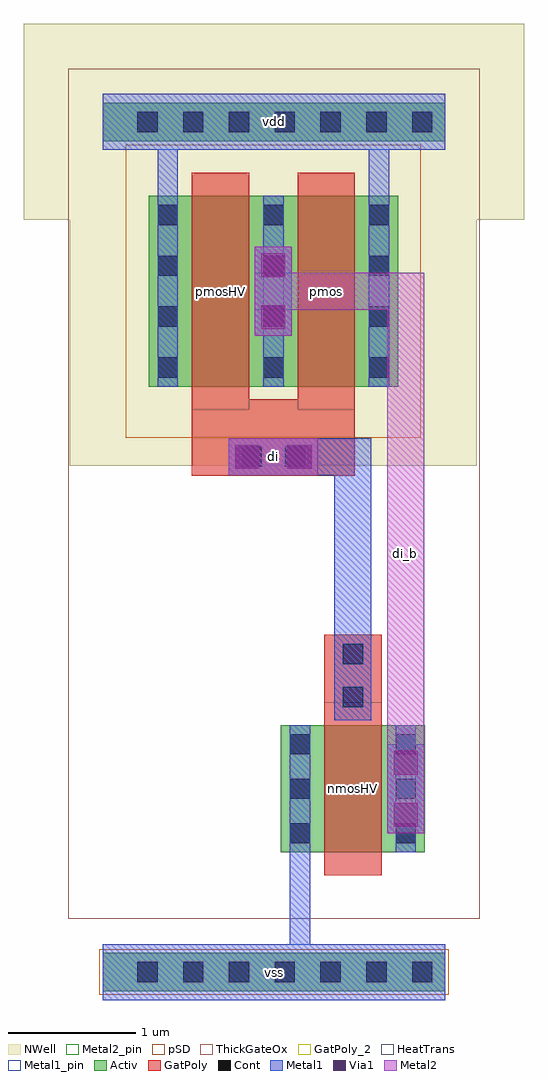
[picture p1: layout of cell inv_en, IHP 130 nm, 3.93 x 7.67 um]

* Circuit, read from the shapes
.subckt inv_en di di_b vdd vss
XM1 di_b di vss vss sg13_hv_nmos w=1u l=0.45u
XM2 di_b di vdd vdd sg13_hv_pmos w=1.5u l=0.45u m=2
.ends

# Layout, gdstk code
import gdstk
lib = gdstk.Library(unit=1e-6, precision=1e-09)
def R(c, l, rs):  # rectangles x0, y0, x1, y1
    for r in rs: c.add(gdstk.rectangle(r[:2], r[2:], *l))
def A(c, l, x, y, w, h, nx, ny, dx, dy):  # array of equal rectangles
    R(c, l, [(x+i*dx, y+j*dy, x+i*dx+w, y+j*dy+h) for i in range(nx) for j in range(ny)])
Activ = (1, 0)
GatPoly = (5, 0)
GatPoly_2 = (5, 2)
Cont = (6, 0)
Metal1 = (8, 0)
Metal1_pin = (8, 2)
Metal2 = (10, 0)
Metal2_pin = (10, 2)
pSD = (14, 0)
Via1 = (19, 0)
NWell = (31, 0)
ThickGateOx = (44, 0)
HeatTrans = (51, 0)

inv_en = lib.new_cell('inv_en')
A(inv_en, Activ, 0.36, 4.6, 0.3, 0.3, 3, 1, 0.83, 0)
R(inv_en, Activ, [(0,-0.15,2.69,0.15), (1.4,0.94,1.7,1.24), (1.4,0.94,2.53,1.94), (2.23,0.94,2.53,1.24), (0.36,4.6,2.32,6.1), (0,6.53,2.69,6.83)])
R(inv_en, GatPoly, [(1.74,0.76,2.19,2.12), (1.74,1.94,2.19,2.65), (0.7,3.9,1.98,4.5), (0.7,4.42,1.15,6.28), (1.53,4.42,1.98,6.28)])
R(inv_en, GatPoly_2, [(1.74,0.76,2.19,2.12), (0.7,4.42,1.15,6.28)])
A(inv_en, Cont, 0.27, -0.08, 0.16, 0.16, 7, 2, 0.36, 6.68)
A(inv_en, Cont, 1.47, 1.01, 0.16, 0.16, 1, 3, 0, 0.35)
A(inv_en, Cont, 2.3, 1.01, 0.16, 0.16, 1, 3, 0, 0.35)
A(inv_en, Cont, 0.43, 4.67, 0.16, 0.16, 3, 4, 0.83, 0.4)
R(inv_en, Cont, [(1.885,2.08,2.045,2.24), (1.885,2.42,2.045,2.58), (1.09,3.97,1.25,4.13), (1.43,3.97,1.59,4.13)])
A(inv_en, Metal1, 0.43, 4.6, 0.16, 1.5, 3, 1, 0.83, 0)
R(inv_en, Metal1, [(0,-0.22,2.69,0.22), (0,-0.22,2.69,0.22), (1.47,-0.22,1.63,0.94), (1.47,0.94,1.63,1.94), (2.3,0.94,2.46,1.94), (2.235,1.09,2.525,1.79), (1.82,1.98,2.11,2.68), (1.82,1.98,2.11,4.195), (0.99,3.905,1.69,4.195), (0.99,3.905,1.69,4.195), (0.99,3.905,2.11,4.195), (1.195,5,1.485,5.7), (0.43,6.1,0.59,6.9), (2.09,6.1,2.25,6.9), (0,6.46,2.69,6.9), (0,6.46,2.69,6.9)])
R(inv_en, Metal1_pin, [(0,-0.22,2.69,0.22), (1.47,0.94,1.63,1.94), (2.3,0.94,2.46,1.94), (0.43,4.6,0.59,6.1), (1.26,4.6,1.42,6.1), (0,6.46,2.69,6.9)])
R(inv_en, Metal2, [(2.235,1.09,2.525,1.79), (2.235,1.09,2.525,5.495), (2.235,1.09,2.525,5.495), (0.99,3.905,1.69,4.195), (0.99,3.905,1.69,4.195), (1.195,5,1.485,5.7), (1.195,5.205,2.525,5.495)])
R(inv_en, Metal2_pin, [(2.235,1.09,2.525,5.495), (0.99,3.905,1.69,4.195), (1.195,5.205,2.525,5.495)])
R(inv_en, pSD, [(-0.03,-0.18,2.72,0.18), (0.18,4.2,2.5,6.5)])
R(inv_en, Via1, [(2.285,1.14,2.475,1.33), (2.285,1.55,2.475,1.74), (1.04,3.955,1.23,4.145), (1.45,3.955,1.64,4.145), (1.245,5.05,1.435,5.24), (1.245,5.46,1.435,5.65)])
R(inv_en, NWell, [(-0.26,3.98,2.94,6.68), (-0.26,3.98,2.94,6.72), (-0.62,5.91,3.31,7.45)])
R(inv_en, ThickGateOx, [(-0.27,0.42,2.96,6.68), (1.13,0.42,2.8,2.46), (-0.26,3.98,2.94,6.72), (-0.27,6.26,2.96,7.1)])
R(inv_en, HeatTrans, [(1.74,0.76,2.19,2.12), (0.7,4.42,1.15,6.28), (1.53,4.42,1.98,6.28)])
inv_en.add(gdstk.Label('nmosHV', (1.965,1.44), layer=63, texttype=0))
inv_en.add(gdstk.Label('pmosHV', (0.925,5.35), layer=63, texttype=0))
inv_en.add(gdstk.Label('nmosHV', (1.965,1.44), layer=51, texttype=0))
inv_en.add(gdstk.Label('pmos', (0.925,5.35), layer=51, texttype=0))
inv_en.add(gdstk.Label('pmos', (1.755,5.35), layer=51, texttype=0))
inv_en.add(gdstk.Label('vss', (1.345,0), layer=8, texttype=25))
inv_en.add(gdstk.Label('vdd', (1.345,6.68), layer=8, texttype=25))
inv_en.add(gdstk.Label('di', (1.34,4.05), layer=10, texttype=25))
inv_en.add(gdstk.Label('di_b', (2.38,3.29), layer=10, texttype=25))

lib.write_gds('inv_en.gds')
